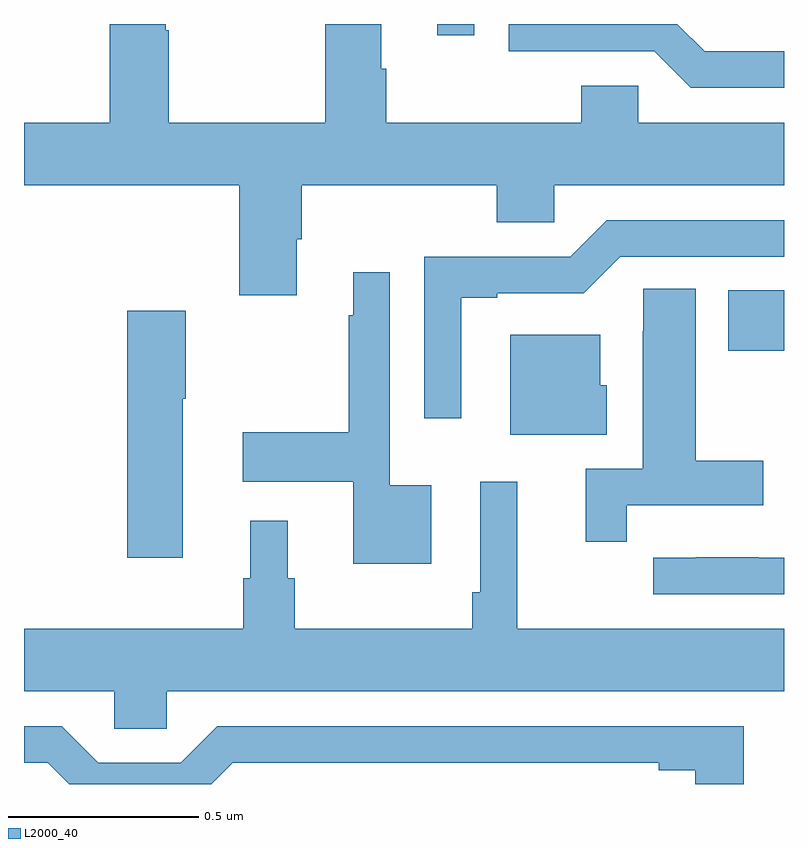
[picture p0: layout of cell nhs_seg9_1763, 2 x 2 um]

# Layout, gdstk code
import gdstk
lib = gdstk.Library(unit=1e-6, precision=1e-09)
def R(c, l, rs):  # rectangles x0, y0, x1, y1
    for r in rs: c.add(gdstk.rectangle(r[:2], r[2:], *l))
def P(c, l, *ps):  # polygons
    for p in ps: c.add(gdstk.Polygon(p, *l))
L2000_40 = (2000, 40)

nhs_seg9_1763 = lib.new_cell('nhs_seg9_1763')
R(nhs_seg9_1763, L2000_40, [(133.853,1206.64,134,1206.799), (133.088,1207.47,133.185,1207.5)])
P(nhs_seg9_1763, L2000_40, [(132.718,1206.934),(132.731,1206.934),(132.731,1207.076),(133.244,1207.076),(133.244,1206.978),(133.395,1206.978),(133.395,1207.076),(134,1207.076),(134,1207.24),(133.617,1207.24),(133.617,1207.338),(133.466,1207.338),(133.466,1207.24),(132.953,1207.24),(132.953,1207.382),(132.94,1207.382),(132.94,1207.5),(132.793,1207.5),(132.793,1207.24),(132.381,1207.24),(132.381,1207.484),(132.373,1207.484),(132.373,1207.5),(132.226,1207.5),(132.226,1207.24),(132,1207.24),(132,1207.076),(132.566,1207.076),(132.566,1206.786),(132.718,1206.786)],
  [(134,1207.428),(133.791,1207.428),(133.719,1207.5),(133.275,1207.5),(133.275,1207.428),(133.659,1207.428),(133.755,1207.332),(134,1207.332)],
  [(133.15,1206.78),(133.246,1206.78),(133.246,1206.792),(133.473,1206.792),(133.569,1206.888),(134,1206.888),(134,1206.984),(133.533,1206.984),(133.437,1206.888),(133.053,1206.888),(133.053,1206.462),(133.15,1206.462)],
  [(133.072,1206.286),(132.963,1206.286),(132.963,1206.847),(132.866,1206.847),(132.866,1206.734),(132.855,1206.734),(132.855,1206.426),(132.576,1206.426),(132.576,1206.296),(132.866,1206.296),(132.866,1206.08),(133.072,1206.08)],
  [(133.586,1206.234),(133.945,1206.234),(133.945,1206.351),(133.768,1206.351),(133.768,1206.803),(133.629,1206.803),(133.629,1206.692),(133.628,1206.692),(133.628,1206.33),(133.478,1206.33),(133.478,1206.138),(133.586,1206.138)],
  [(132.418,1206.514),(132.426,1206.514),(132.426,1206.745),(132.272,1206.745),(132.272,1206.096),(132.418,1206.096)],
  [(133.534,1206.549),(133.516,1206.549),(133.516,1206.682),(133.28,1206.682),(133.28,1206.419),(133.534,1206.419)],
  [(132.375,1205.744),(134,1205.744),(134,1205.908),(133.298,1205.908),(133.298,1206.295),(133.2,1206.295),(133.2,1206.004),(133.18,1206.004),(133.18,1205.908),(132.713,1205.908),(132.713,1206.042),(132.694,1206.042),(132.694,1206.193),(132.596,1206.193),(132.596,1206.042),(132.577,1206.042),(132.577,1205.908),(132,1205.908),(132,1205.744),(132.237,1205.744),(132.237,1205.646),(132.375,1205.646)],
  [(134,1206.096),(133.934,1206.096),(133.934,1206.097),(133.768,1206.097),(133.768,1206.096),(133.656,1206.096),(133.656,1206),(134,1206)],
  [(132.549,1205.556),(133.67,1205.556),(133.67,1205.536),(133.766,1205.536),(133.766,1205.5),(133.894,1205.5),(133.894,1205.652),(132.509,1205.652),(132.413,1205.556),(132.195,1205.556),(132.099,1205.652),(132,1205.652),(132,1205.556),(132.063,1205.556),(132.119,1205.5),(132.493,1205.5)])

lib.write_gds('nhs_seg9_1763.gds')
